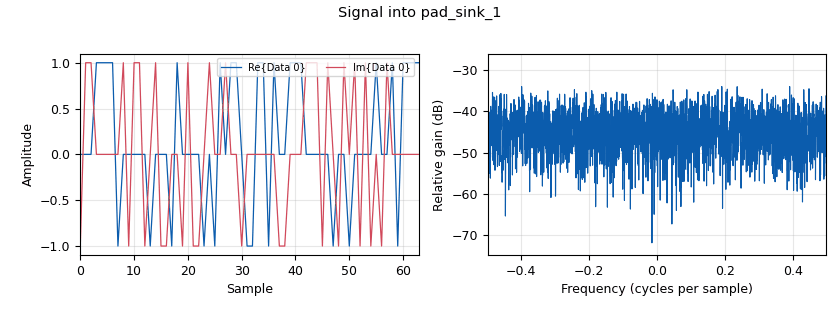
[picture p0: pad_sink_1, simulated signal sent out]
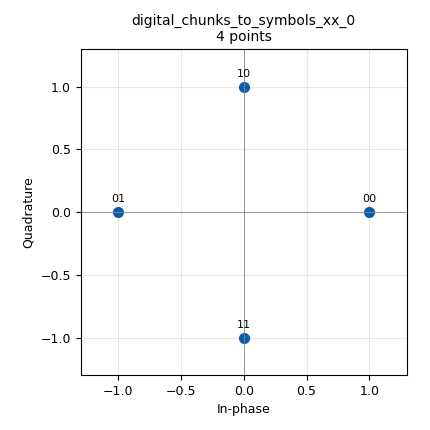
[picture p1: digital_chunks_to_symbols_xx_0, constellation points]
options:
  parameters:
    author: Homero Ortega Boada
    category: '''[comdiguis]'''
    copyright: Grupo RadioGIS Universidad Industrial de Santander
    generate_options: hb
    id: b_symb_source
    output_language: python
    title: b_symb_source
  states: {}

blocks:
- name: Bps
  id: variable
  parameters:
    value: int(math.log(len(Constelacion),2))
  states: {}
- name: Constelacion
  id: parameter
  parameters:
    label: Tabla de Verdad
    value: '[1+.0j,-1+.0j, .0+1j,0 -1j ]'
  states: {}
- name: analog_random_source_x_0
  id: analog_random_source_x
  parameters:
    max: '256'
    min: '0'
    num_samps: '1000'
    repeat: 'True'
    type: byte
  states: {}
- name: blocks_packed_to_unpacked_xx_0
  id: blocks_packed_to_unpacked_xx
  parameters:
    bits_per_chunk: Bps
    endianness: gr.GR_MSB_FIRST
    type: byte
  states: {}
- name: digital_chunks_to_symbols_xx_0
  id: digital_chunks_to_symbols_xx
  parameters:
    dimension: '1'
    in_type: byte
    out_type: complex
    symbol_table: Constelacion
  states: {}
- name: import_0
  id: import
  parameters:
    imports: import math
  states: {}
- name: pad_sink_1
  id: pad_sink
  parameters:
    label: out
    type: complex
  states: {}

connections:
- [analog_random_source_x_0, '0', blocks_packed_to_unpacked_xx_0, '0']
- [blocks_packed_to_unpacked_xx_0, '0', digital_chunks_to_symbols_xx_0, '0']
- [digital_chunks_to_symbols_xx_0, '0', pad_sink_1, '0']

metadata:
  file_format: 1
